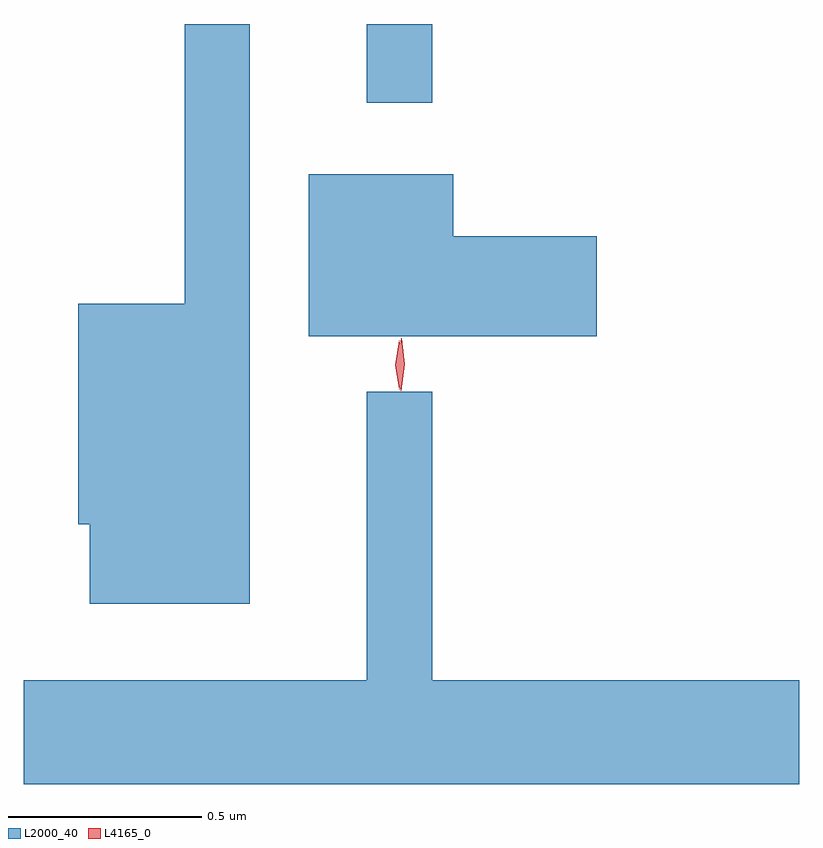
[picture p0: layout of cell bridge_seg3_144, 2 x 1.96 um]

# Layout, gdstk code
import gdstk
lib = gdstk.Library(unit=1e-6, precision=1e-09)
def R(c, l, rs):  # rectangles x0, y0, x1, y1
    for r in rs: c.add(gdstk.rectangle(r[:2], r[2:], *l))
def P(c, l, *ps):  # polygons
    for p in ps: c.add(gdstk.Polygon(p, *l))
L2000_40 = (2000, 40)
L4165_0 = (4165, 0)

bridge_seg3_144 = lib.new_cell('bridge_seg3_144')
R(bridge_seg3_144, L2000_40, [(824.661,1205.473,824.829,1205.676)])
P(bridge_seg3_144, L2000_40, [(824.359,1205.676),(824.191,1205.676),(824.191,1204.954),(823.916,1204.954),(823.916,1204.386),(823.946,1204.386),(823.946,1204.181),(824.359,1204.181)],
  [(825.254,1205.129),(824.884,1205.129),(824.884,1205.289),(824.511,1205.289),(824.511,1204.871),(825.254,1204.871)],
  [(825.776,1203.984),(824.829,1203.984),(824.829,1204.728),(824.661,1204.728),(824.661,1203.984),(823.776,1203.984),(823.776,1203.716),(825.776,1203.716)])
P(bridge_seg3_144, L4165_0, [(824.748,1204.73),(824.739,1204.798),(824.75,1204.866),(824.75,1204.866),(824.751,1204.866),(824.759,1204.798),(824.749,1204.73),(824.749,1204.73)],
  [(824.744,1204.733),(824.744,1204.734),(824.734,1204.796),(824.744,1204.86),(824.744,1204.86),(824.745,1204.86),(824.754,1204.796),(824.745,1204.734)])

lib.write_gds('bridge_seg3_144.gds')
